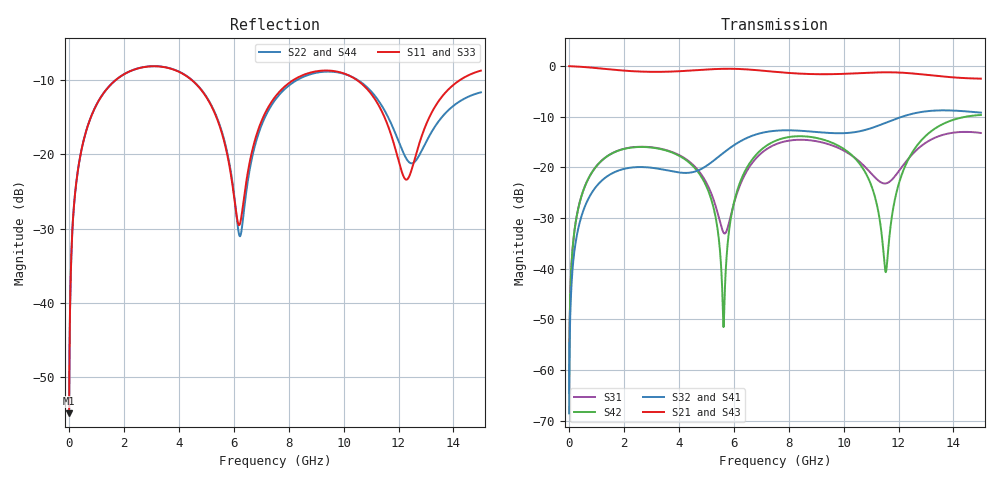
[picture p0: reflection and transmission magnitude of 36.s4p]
! Created with skrf 1.8.0 (http://scikit-rf.org).
# GHz S RI R 50.0
!freq ReS11 ImS11 ReS12 ImS12 ReS13 ImS13
! ReS14 ImS14
! ReS21 ImS21 ReS22 ImS22 ReS23 ImS23
! ReS24 ImS24
! ReS31 ImS31 ReS32 ImS32 ReS33 ImS33
! ReS34 ImS34
! ReS41 ImS41 ReS42 ImS42 ReS43 ImS43
! ReS44 ImS44
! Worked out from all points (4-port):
!   2499 points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, 5 MHz to 15 GHz, reference 50 ohm
!   strongest paths, dB at 5 MHz, 3.476 GHz, 7.19 GHz, 11.1 GHz, 15 GHz:
!     S21: 0.0, -1.1, -1.0, -1.3, -2.5
!     S43: 0.0, -1.1, -1.0, -1.3, -2.4
!     S32: -68.6, -20.5, -13.0, -12.1, -9.2
!     S41: -68.6, -20.5, -13.0, -12.1, -9.3
!     S42: -64.5, -16.6, -15.7, -25.0, -9.7
!     S31: -64.5, -16.5, -16.4, -21.7, -13.2
!   lowest |S11| = -54.8 dB at 5 MHz (marker M1), VSWR 1.00, Z = 50.1 + j0.11 ohm
!   |S11| at or under -10 dB: start of sweep to 1.699 GHz; 4.473 GHz to 8.168 GHz (3.695 GHz wide, 58.5 % of centre); 10.49 GHz to 14.23 GHz (3.747 GHz wide, 30.3 % of centre)
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0.005  0.00145 0.0011  0.9985 -0.00282  7.26e-05 0.00059  -7.05e-05 -0.000367
       0.9985 -0.00282  0.00145 0.0011  -7.05e-05 -0.000367  7.26e-05 0.00059
       7.26e-05 0.00059  -7.05e-05 -0.000367  0.00145 0.0011  0.9985 -0.00282
       -7.05e-05 -0.000367  7.26e-05 0.00059  0.9985 -0.00282  0.00145 0.0011
0.3126303  0.0195 0.0729  0.9735 -0.176  0.00899 0.0354  -0.00745 -0.0219
           0.9735 -0.176  0.0195 0.0729  -0.00745 -0.0219  0.00893 0.0354
           0.00899 0.0354  -0.00745 -0.0219  0.0195 0.0729  0.9735 -0.176
           -0.00745 -0.0219  0.00893 0.0354  0.9735 -0.176  0.0195 0.0729
1.569404  0.235 0.188  0.6209 -0.684  0.1178 0.0715  -0.0854 -0.0179
          0.6209 -0.684  0.2351 0.188  -0.0855 -0.0178  0.1169 0.0727
          0.1178 0.0715  -0.0855 -0.0178  0.2349 0.1881  0.6209 -0.6839
          -0.0854 -0.0179  0.1169 0.0727  0.6209 -0.6839  0.2352 0.188
5.627345  0.064 -0.1101  -0.8731 -0.3494  -0.0208 -0.00923  -0.0483 0.1307
          -0.8731 -0.3494  0.0615 -0.115  -0.0468 0.1312  0.00264 0.000199
          -0.0208 -0.00923  -0.0468 0.1312  0.0636 -0.1108  -0.8729 -0.3496
          -0.0483 0.1307  0.00264 0.000199  -0.8729 -0.3496  0.0624 -0.1153
9.897874  0.3461 -0.083  0.1043 0.8303  0.1183 -0.095  0.1992 -0.0819
          0.1043 0.8303  0.3472 -0.0644  0.199 -0.0873  0.1247 -0.0982
          0.1183 -0.095  0.199 -0.0873  0.3454 -0.0784  0.1045 0.8305
          0.1992 -0.0819  0.1247 -0.0982  0.1045 0.8305  0.3469 -0.0692
11.53606  0.1169 -0.1234  0.7033 0.5104  -0.0638 -0.0276  0.1599 -0.2248
          0.7033 0.5104  0.1413 -0.1285  0.1535 -0.2292  -0.00919 -0.000941
          -0.0638 -0.0276  0.1535 -0.2292  0.1219 -0.1213  0.7032 0.5103
          0.1599 -0.2248  -0.00919 -0.000941  0.7032 0.5103  0.1379 -0.1325
15  0.3645 0.0341  0.3704 -0.6543  0.2041 0.0785  -0.3338 -0.0836
    0.3704 -0.6543  0.2584 0.0412  -0.339 -0.0753  0.3139 -0.099
    0.2041 0.0785  -0.339 -0.0753  0.3558 0.0293  0.3714 -0.6566
    -0.3338 -0.0836  0.3139 -0.099  0.3714 -0.6566  0.2551 0.0374
